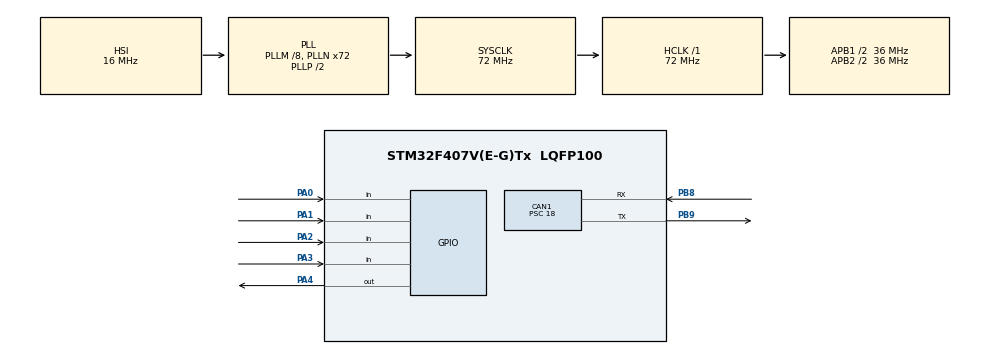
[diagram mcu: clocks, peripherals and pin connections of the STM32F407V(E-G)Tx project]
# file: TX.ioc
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CAN1.BS1=CAN_BS1_2TQ
CAN1.CalculateBaudRate=500000
CAN1.CalculateTimeBit=2000
CAN1.CalculateTimeQuantum=500.0
CAN1.Prescaler=18
Mcu.Family=STM32F4
Mcu.Name=STM32F407V(E-G)Tx
Mcu.Package=LQFP100
NVIC.CAN1_RX0_IRQn=true\:0\:0\:false\:false\:true\:true\:true\:true
NVIC.PriorityGroup=NVIC_PRIORITYGROUP_0
PA0-WKUP.Signal=GPIO_Input
PA1.Signal=GPIO_Input
PA2.Signal=GPIO_Input
PA3.Signal=GPIO_Input
PA4.Signal=GPIO_Output
PB8.Mode=CAN_Activate
PB8.Signal=CAN1_RX
PB9.Mode=CAN_Activate
PB9.Signal=CAN1_TX
PH0-OSC_IN.Mode=HSE-External-Oscillator
PH0-OSC_IN.Signal=RCC_OSC_IN
PH1-OSC_OUT.Mode=HSE-External-Oscillator
PH1-OSC_OUT.Signal=RCC_OSC_OUT
ProjectManager.HeapSize=0x200
ProjectManager.StackSize=0x400
ProjectManager.TargetToolchain=STM32CubeIDE
RCC.48MHZClocksFreq_Value=20571428.57142857
RCC.AHBFreq_Value=72000000
RCC.APB1CLKDivider=RCC_HCLK_DIV2
RCC.APB1Freq_Value=36000000
RCC.APB1TimFreq_Value=72000000
RCC.APB2CLKDivider=RCC_HCLK_DIV2
RCC.APB2Freq_Value=36000000
RCC.APB2TimFreq_Value=72000000
RCC.CortexFreq_Value=72000000
RCC.HCLKFreq_Value=72000000
RCC.HSE_VALUE=8000000
RCC.HSI_VALUE=16000000
RCC.LSE_VALUE=32768
RCC.PLLM=8
RCC.PLLN=72
RCC.PLLQ=7
RCC.SYSCLKFreq_VALUE=72000000
RCC.SYSCLKSource=RCC_SYSCLKSOURCE_PLLCLK
RCC.VCOOutputFreq_Value=144000000
board=STM32F407G-DISC1

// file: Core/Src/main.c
/* USER CODE BEGIN Header */
/**
  ******************************************************************************
  * @file           : main.c
  * @brief          : Main program body
  ******************************************************************************
  * @attention
  *
  * Copyright (c) 2024 STMicroelectronics.
  * All rights reserved.
  *
  * This software is licensed under terms that can be found in the LICENSE file
  * in the root directory of this software component.
  * If no LICENSE file comes with this software, it is provided AS-IS.
  *
  ******************************************************************************
  */
/* USER CODE END Header */
#include "main.h"

CAN_HandleTypeDef hcan1;

#define PIR1_Pin GPIO_PIN_0
#define PIR1_GPIO_Port GPIOA
#define PIR2_Pin GPIO_PIN_1
#define PIR2_GPIO_Port GPIOA
#define PIR3_Pin GPIO_PIN_2
#define PIR3_GPIO_Port GPIOA
#define PIR4_Pin GPIO_PIN_3
#define PIR4_GPIO_Port GPIOA

#define BUZZER_Pin GPIO_PIN_4
#define BUZZER_GPIO_Port GPIOA

int PIR1_Flag = 0;
int PIR2_Flag = 0;
int PIR3_Flag = 0;
int PIR4_Flag = 0;

void SystemClock_Config(void);
static void MX_GPIO_Init(void);
static void MX_CAN1_Init(void);

/* USER CODE BEGIN 0 */
void HAL_GPIO_EXTI_Callback(uint16_t GPIO_Pin){
  if(GPIO_Pin == PIR1_Pin) {
    PIR1_Flag = 1;
  } else if(GPIO_Pin == PIR2_Pin) {
    PIR2_Flag = 1;
  } else if(GPIO_Pin == PIR3_Pin) {
    PIR3_Flag = 1;
  } else if(GPIO_Pin == PIR4_Pin) {
    PIR4_Flag = 1;
  }
}

CAN_TxHeaderTypeDef TxHeader;
 uint8_t TxData[5];
 uint32_t TxMailBox;

/* USER CODE END 0 */

int main(void)
{

  /* MCU Configuration--------------------------------------------------------*/

  /* Reset of all peripherals, Initializes the Flash interface and the Systick. */
  HAL_Init();

  /* Configure the system clock */
  SystemClock_Config();

  /* Initialize all configured peripherals */
  MX_GPIO_Init();
  MX_CAN1_Init();
  /* USER CODE BEGIN 2 */

   TxHeader.DLC = 3;
   TxHeader.RTR = CAN_RTR_DATA;
   TxHeader.IDE = CAN_ID_STD;
   TxHeader.ExtId = 0x0;
   TxHeader.StdId = 0x0AA;
   TxHeader.TransmitGlobalTime = DISABLE;
  /* USER CODE END 2 */

  /* Infinite loop */
  while (1)
  {
	  if (PIR1_Flag || PIR2_Flag || PIR3_Flag || PIR4_Flag) {
	        HAL_GPIO_WritePin(BUZZER_GPIO_Port, BUZZER_Pin, GPIO_PIN_SET);
	        HAL_Delay(1000);  // Buzzer ON time
	        HAL_GPIO_WritePin(BUZZER_GPIO_Port, BUZZER_Pin, GPIO_PIN_RESET);

	        PIR1_Flag = 0;
	        PIR2_Flag = 0;
	        PIR3_Flag = 0;
	        PIR4_Flag = 0;

	        TxData[0] = 'M';  // Example: Send 'M' indicating motion detected
	        if (HAL_CAN_AddTxMessage(&hcan1, &TxHeader, TxData, &TxMailBox) != HAL_OK) {
	          Error_Handler();
	        }
	      }
  }
}

void SystemClock_Config(void)
{
  RCC_OscInitTypeDef RCC_OscInitStruct = {0};
  RCC_ClkInitTypeDef RCC_ClkInitStruct = {0};

  /** Configure the main internal regulator output voltage
  */
  __HAL_RCC_PWR_CLK_ENABLE();
  __HAL_PWR_VOLTAGESCALING_CONFIG(PWR_REGULATOR_VOLTAGE_SCALE1);

  /** Initializes the RCC Oscillators according to the specified parameters
  * in the RCC_OscInitTypeDef structure.
  */
  RCC_OscInitStruct.OscillatorType = RCC_OSCILLATORTYPE_HSI;
  RCC_OscInitStruct.HSIState = RCC_HSI_ON;
  RCC_OscInitStruct.HSICalibrationValue = RCC_HSICALIBRATION_DEFAULT;
  RCC_OscInitStruct.PLL.PLLState = RCC_PLL_ON;
  RCC_OscInitStruct.PLL.PLLSource = RCC_PLLSOURCE_HSI;
  RCC_OscInitStruct.PLL.PLLM = 8;
  RCC_OscInitStruct.PLL.PLLN = 72;
  RCC_OscInitStruct.PLL.PLLP = RCC_PLLP_DIV2;
  RCC_OscInitStruct.PLL.PLLQ = 7;
  if (HAL_RCC_OscConfig(&RCC_OscInitStruct) != HAL_OK)
  {
    Error_Handler();
  }

  /** Initializes the CPU, AHB and APB buses clocks
  */
  RCC_ClkInitStruct.ClockType = RCC_CLOCKTYPE_HCLK|RCC_CLOCKTYPE_SYSCLK
                              |RCC_CLOCKTYPE_PCLK1|RCC_CLOCKTYPE_PCLK2;
  RCC_ClkInitStruct.SYSCLKSource = RCC_SYSCLKSOURCE_PLLCLK;
  RCC_ClkInitStruct.AHBCLKDivider = RCC_SYSCLK_DIV1;
  RCC_ClkInitStruct.APB1CLKDivider = RCC_HCLK_DIV2;
  RCC_ClkInitStruct.APB2CLKDivider = RCC_HCLK_DIV2;

  if (HAL_RCC_ClockConfig(&RCC_ClkInitStruct, FLASH_LATENCY_2) != HAL_OK)
  {
    Error_Handler();
  }
}

static void MX_CAN1_Init(void)
{

  hcan1.Instance = CAN1;
  hcan1.Init.Prescaler = 18;
  hcan1.Init.Mode = CAN_MODE_NORMAL;
  hcan1.Init.SyncJumpWidth = CAN_SJW_1TQ;
  hcan1.Init.TimeSeg1 = CAN_BS1_2TQ;
  hcan1.Init.TimeSeg2 = CAN_BS2_1TQ;
  hcan1.Init.TimeTriggeredMode = DISABLE;
  hcan1.Init.AutoBusOff = DISABLE;
  hcan1.Init.AutoWakeUp = DISABLE;
  hcan1.Init.AutoRetransmission = DISABLE;
  hcan1.Init.ReceiveFifoLocked = DISABLE;
  hcan1.Init.TransmitFifoPriority = DISABLE;
  if (HAL_CAN_Init(&hcan1) != HAL_OK)
  {
    Error_Handler();
  }
  /* USER CODE BEGIN CAN1_Init 2 */
  CAN_FilterTypeDef canFilterConfig;
  canFilterConfig.FilterActivation = CAN_FILTER_ENABLE;
  canFilterConfig.SlaveStartFilterBank = 14;
  canFilterConfig.FilterBank = 2;
  canFilterConfig.FilterFIFOAssignment = CAN_RX_FIFO0;
  canFilterConfig.FilterScale = CAN_FILTERSCALE_32BIT;
  canFilterConfig.FilterMode = CAN_FILTERMODE_IDMASK;
  canFilterConfig.FilterMaskIdLow = 0x0000;
  canFilterConfig.FilterMaskIdHigh = 0xFF00;
  canFilterConfig.FilterIdLow = 0x0000;
  canFilterConfig.FilterIdHigh = 0x1500;
  HAL_CAN_ConfigFilter(&hcan1, &canFilterConfig);
  /* USER CODE END CAN1_Init 2 */

}

static void MX_GPIO_Init(void)
{
  GPIO_InitTypeDef GPIO_InitStruct = {0};

  /* GPIO Ports Clock Enable */
  __HAL_RCC_GPIOH_CLK_ENABLE();
  __HAL_RCC_GPIOA_CLK_ENABLE();
  __HAL_RCC_GPIOB_CLK_ENABLE();

  /*Configure GPIO pin Output Level */
  HAL_GPIO_WritePin(GPIOA, GPIO_PIN_4, GPIO_PIN_RESET);

  /*Configure GPIO pins : PA0 PA1 PA2 PA3 */
  GPIO_InitStruct.Pin = GPIO_PIN_0|GPIO_PIN_1|GPIO_PIN_2|GPIO_PIN_3;
  GPIO_InitStruct.Mode = GPIO_MODE_INPUT;
  GPIO_InitStruct.Pull = GPIO_NOPULL;
  HAL_GPIO_Init(GPIOA, &GPIO_InitStruct);

  /*Configure GPIO pin : PA4 */
  GPIO_InitStruct.Pin = GPIO_PIN_4;
  GPIO_InitStruct.Mode = GPIO_MODE_OUTPUT_PP;
  GPIO_InitStruct.Pull = GPIO_NOPULL;
  GPIO_InitStruct.Speed = GPIO_SPEED_FREQ_LOW;
  HAL_GPIO_Init(GPIOA, &GPIO_InitStruct);

}

void Error_Handler(void)
{
  __disable_irq();
  while (1)
  {
  }
}
